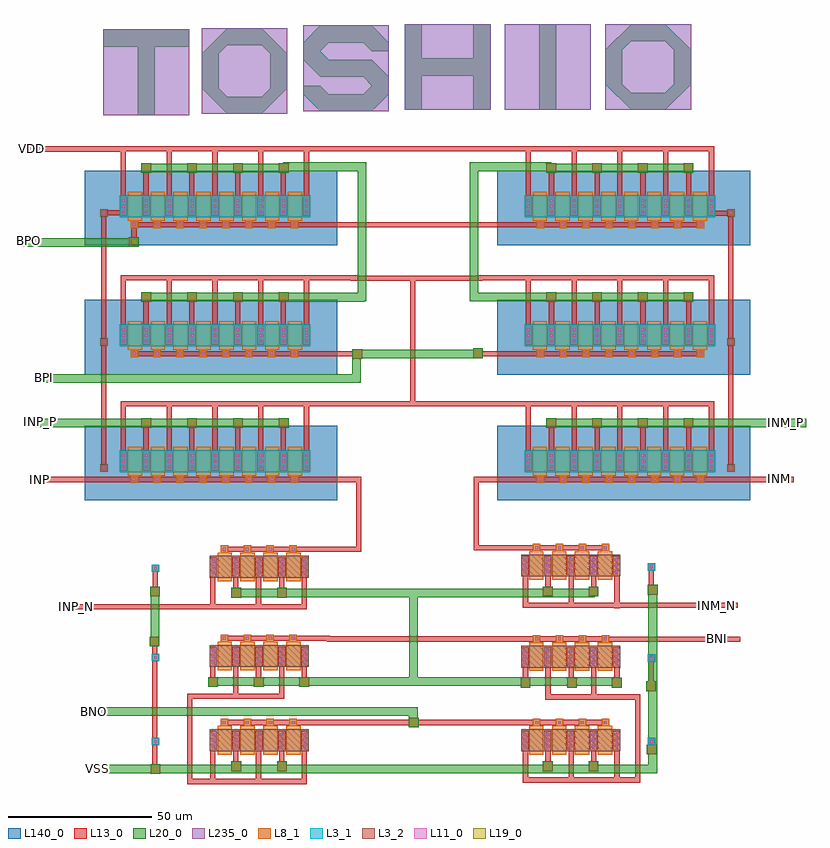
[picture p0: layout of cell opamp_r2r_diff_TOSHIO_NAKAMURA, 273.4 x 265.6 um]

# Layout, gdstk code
from math import pi, radians
import gdstk
lib = gdstk.Library(unit=1e-6, precision=1e-07)
def R(c, l, rs):  # rectangles x0, y0, x1, y1
    for r in rs: c.add(gdstk.rectangle(r[:2], r[2:], *l))
def A(c, l, x, y, w, h, nx, ny, dx, dy):  # array of equal rectangles
    R(c, l, [(x+i*dx, y+j*dy, x+i*dx+w, y+j*dy+h) for i in range(nx) for j in range(ny)])
def P(c, l, *ps):  # polygons
    for p in ps: c.add(gdstk.Polygon(p, *l))
L3_1 = (3, 1)
L3_2 = (3, 2)
L8_1 = (8, 1)
L11_0 = (11, 0)
L13_0 = (13, 0)
L19_0 = (19, 0)
L20_0 = (20, 0)
L140_0 = (140, 0)
L235_0 = (235, 0)

pmos = lib.new_cell('pmos')

fet_p = lib.new_cell('fet_p')
R(fet_p, L3_1, [(-33.3,-3.8,33.3,3.8)])
A(fet_p, L11_0, -32.5, -2.5, 1, 1, 9, 3, 8, 2)
A(fet_p, L13_0, -33.3, -3.3, 2.6, 6.6, 9, 1, 8, 0)
fet_p.add(gdstk.FlexPath([(4,-5),(4,5)], 5, ends="flush", simple_path=True, layer=8, datatype=1))  # L8_1
fet_p.add(gdstk.FlexPath([(-4,-5),(-4,5)], 5, ends="flush", simple_path=True, layer=8, datatype=1))  # L8_1
fet_p.add(gdstk.FlexPath([(12,-5),(12,5)], 5, ends="flush", simple_path=True, layer=8, datatype=1))  # L8_1
fet_p.add(gdstk.FlexPath([(-12,-5),(-12,5)], 5, ends="flush", simple_path=True, layer=8, datatype=1))  # L8_1
fet_p.add(gdstk.FlexPath([(20,-5),(20,5)], 5, ends="flush", simple_path=True, layer=8, datatype=1))  # L8_1
fet_p.add(gdstk.FlexPath([(-20,-5),(-20,5)], 5, ends="flush", simple_path=True, layer=8, datatype=1))  # L8_1
fet_p.add(gdstk.FlexPath([(28,-5),(28,5)], 5, ends="flush", simple_path=True, layer=8, datatype=1))  # L8_1
fet_p.add(gdstk.FlexPath([(-28,-5),(-28,5)], 5, ends="flush", simple_path=True, layer=8, datatype=1))  # L8_1

cont_g = lib.new_cell('cont_g')
R(cont_g, L8_1, [(-1.3,-1.3,1.3,1.3)])
R(cont_g, L11_0, [(-0.5,-0.5,0.5,0.5)])
R(cont_g, L13_0, [(-1.3,-1.3,1.3,1.3)])

via_1 = lib.new_cell('via_1')
R(via_1, L13_0, [(-1.7,-1.7,1.7,1.7)])
R(via_1, L19_0, [(-0.7,-0.7,0.7,0.7)])
R(via_1, L20_0, [(-1.7,-1.7,1.7,1.7)])

cont_n = lib.new_cell('cont_n')
R(cont_n, L3_2, [(-1.3,-1.3,1.3,1.3)])
R(cont_n, L11_0, [(-0.5,-0.5,0.5,0.5)])
R(cont_n, L13_0, [(-1.3,-1.3,1.3,1.3)])

pmos2 = lib.new_cell('pmos2')
R(pmos2, L140_0, [(0,0,88.4,26.1)])
pmos2.add(gdstk.FlexPath([(16.8,7.3),(96.7,7.3)], 1.8, ends="flush", simple_path=True, layer=13, datatype=0))  # L13_0
pmos2.add(gdstk.FlexPath([(77.6,16.7),(77.6,34.7)], 1.8, ends="flush", simple_path=True, layer=13, datatype=0))  # L13_0
pmos2.add(gdstk.FlexPath([(69.5,16.7),(69.5,26.7)], 1.8, ends="flush", simple_path=True, layer=13, datatype=0))  # L13_0
pmos2.add(gdstk.FlexPath([(61.6,16.7),(61.6,34.7)], 1.8, ends="flush", simple_path=True, layer=13, datatype=0))  # L13_0
pmos2.add(gdstk.FlexPath([(53.5,16.7),(53.5,26.7)], 1.8, ends="flush", simple_path=True, layer=13, datatype=0))  # L13_0
pmos2.add(gdstk.FlexPath([(45.6,16.7),(45.6,34.7)], 1.8, ends="flush", simple_path=True, layer=13, datatype=0))  # L13_0
pmos2.add(gdstk.FlexPath([(37.5,16.7),(37.5,26.7)], 1.8, ends="flush", simple_path=True, layer=13, datatype=0))  # L13_0
pmos2.add(gdstk.FlexPath([(29.6,16.7),(29.6,34.7)], 1.8, ends="flush", simple_path=True, layer=13, datatype=0))  # L13_0
pmos2.add(gdstk.FlexPath([(21.5,16.7),(21.5,26.7)], 1.8, ends="flush", simple_path=True, layer=13, datatype=0))  # L13_0
pmos2.add(gdstk.FlexPath([(13.6,16.7),(13.6,34.7)], 1.8, ends="flush", simple_path=True, layer=13, datatype=0))  # L13_0
pmos2.add(gdstk.FlexPath([(13.5,33.8),(95.7,33.8)], 1.8, ends="flush", simple_path=True, layer=13, datatype=0))  # L13_0
pmos2.add(gdstk.FlexPath([(22,27.1),(70.7,27.1)], 3, ends="flush", simple_path=True, layer=20, datatype=0))  # L20_0
pmos2.add(gdstk.Reference(fet_p, (45.6,13.7), rotation=pi))
pmos2.add(gdstk.Reference(cont_g, (17.4,7.4), rotation=pi))
pmos2.add(gdstk.Reference(cont_g, (25.4,7.4), rotation=pi))
pmos2.add(gdstk.Reference(cont_g, (33.4,7.4), rotation=pi))
pmos2.add(gdstk.Reference(cont_g, (41.4,7.4), rotation=pi))
pmos2.add(gdstk.Reference(cont_g, (49.4,7.4), rotation=pi))
pmos2.add(gdstk.Reference(cont_g, (57.4,7.4), rotation=pi))
pmos2.add(gdstk.Reference(cont_g, (65.4,7.4), rotation=pi))
pmos2.add(gdstk.Reference(cont_g, (73.4,7.4), rotation=pi))
pmos2.add(gdstk.Reference(via_1, (21.6,27.1), rotation=pi))
pmos2.add(gdstk.Reference(via_1, (37.6,27.1), rotation=pi))
pmos2.add(gdstk.Reference(via_1, (53.6,27.1), rotation=pi))
pmos2.add(gdstk.Reference(via_1, (69.6,27.1), rotation=pi))
pmos2.add(gdstk.Reference(cont_n, (6.8,11.4), rotation=pi))

fet_n = lib.new_cell('fet_n')
R(fet_n, L3_2, [(-17.3,-3.8,17.3,3.8)])
A(fet_n, L11_0, -16.5, -2.5, 1, 1, 5, 3, 8, 2)
A(fet_n, L13_0, -17.3, -3.3, 2.6, 6.6, 5, 1, 8, 0)
fet_n.add(gdstk.FlexPath([(4,-5),(4,5)], 5, ends="flush", simple_path=True, layer=8, datatype=1))  # L8_1
fet_n.add(gdstk.FlexPath([(-4,-5),(-4,5)], 5, ends="flush", simple_path=True, layer=8, datatype=1))  # L8_1
fet_n.add(gdstk.FlexPath([(12,-5),(12,5)], 5, ends="flush", simple_path=True, layer=8, datatype=1))  # L8_1
fet_n.add(gdstk.FlexPath([(-12,-5),(-12,5)], 5, ends="flush", simple_path=True, layer=8, datatype=1))  # L8_1

cont_p = lib.new_cell('cont_p')
R(cont_p, L3_1, [(-1.3,-1.3,1.3,1.3)])
R(cont_p, L11_0, [(-0.5,-0.5,0.5,0.5)])
R(cont_p, L13_0, [(-1.3,-1.3,1.3,1.3)])

nmos2_1 = lib.new_cell('nmos2$1')
nmos2_1.add(gdstk.FlexPath([(17.3,21.1),(54.2,21.1)], 1.8, ends="flush", simple_path=True, layer=13, datatype=0))  # L13_0
nmos2_1.add(gdstk.FlexPath([(13.3,12.9),(13.3,0)], 1.8, ends="flush", simple_path=True, layer=13, datatype=0))  # L13_0
nmos2_1.add(gdstk.FlexPath([(29.3,12.9),(29.3,0.1)], 1.8, ends="flush", simple_path=True, layer=13, datatype=0))  # L13_0
nmos2_1.add(gdstk.FlexPath([(45.3,12.9),(45.3,0.1)], 1.8, ends="flush", simple_path=True, layer=13, datatype=0))  # L13_0
nmos2_1.add(gdstk.FlexPath([(21.4,12.4),(21.4,5.5)], 1.8, ends="flush", simple_path=True, layer=13, datatype=0))  # L13_0
nmos2_1.add(gdstk.FlexPath([(37.4,12.4),(37.4,5.5)], 1.8, ends="flush", simple_path=True, layer=13, datatype=0))  # L13_0
nmos2_1.add(gdstk.Reference(fet_n, (29.5,14.9)))
nmos2_1.add(gdstk.Reference(cont_g, (17.4,21.1)))
nmos2_1.add(gdstk.Reference(cont_g, (25.4,21.1)))
nmos2_1.add(gdstk.Reference(cont_g, (33.4,21.1)))
nmos2_1.add(gdstk.Reference(cont_g, (41.4,21.1)))
nmos2_1.add(gdstk.Reference(via_1, (21.5,5.8)))
nmos2_1.add(gdstk.Reference(via_1, (37.5,5.8)))
nmos2_1.add(gdstk.Reference(cont_p, (-6.7,14.4)))

nmos2_1_1 = lib.new_cell('nmos2$1$1')
nmos2_1_1.add(gdstk.FlexPath([(13.3,12.9),(13.3,4.8)], 1.8, ends="flush", simple_path=True, layer=13, datatype=0))  # L13_0
nmos2_1_1.add(gdstk.FlexPath([(29.3,12.9),(29.3,5)], 1.8, ends="flush", simple_path=True, layer=13, datatype=0))  # L13_0
nmos2_1_1.add(gdstk.FlexPath([(45.3,12.9),(45.3,5.4)], 1.8, ends="flush", simple_path=True, layer=13, datatype=0))  # L13_0
nmos2_1_1.add(gdstk.FlexPath([(21.4,12.4),(21.4,0.2)], 1.8, ends="flush", simple_path=True, layer=13, datatype=0))  # L13_0
nmos2_1_1.add(gdstk.FlexPath([(37.4,12.4),(37.4,0.3)], 1.8, ends="flush", simple_path=True, layer=13, datatype=0))  # L13_0
nmos2_1_1.add(gdstk.FlexPath([(17.3,21.1),(54.2,21.1)], 1.8, ends="flush", simple_path=True, layer=13, datatype=0))  # L13_0
nmos2_1_1.add(gdstk.Reference(fet_n, (29.5,14.9)))
nmos2_1_1.add(gdstk.Reference(cont_g, (17.4,21.1)))
nmos2_1_1.add(gdstk.Reference(cont_g, (25.4,21.1)))
nmos2_1_1.add(gdstk.Reference(cont_g, (33.4,21.1)))
nmos2_1_1.add(gdstk.Reference(cont_g, (41.4,21.1)))
nmos2_1_1.add(gdstk.Reference(via_1, (13.4,5.8)))
nmos2_1_1.add(gdstk.Reference(via_1, (45.3,5.8)))
nmos2_1_1.add(gdstk.Reference(cont_p, (-6.7,14.4)))

nmos2_1_2 = lib.new_cell('nmos2$1$2')
nmos2_1_2.add(gdstk.FlexPath([(36.9,21.1),(0,21.1)], 1.8, ends="flush", simple_path=True, layer=13, datatype=0))  # L13_0
nmos2_1_2.add(gdstk.FlexPath([(40.9,12.9),(40.9,0)], 1.8, ends="flush", simple_path=True, layer=13, datatype=0))  # L13_0
nmos2_1_2.add(gdstk.FlexPath([(24.9,12.9),(24.9,0.1)], 1.8, ends="flush", simple_path=True, layer=13, datatype=0))  # L13_0
nmos2_1_2.add(gdstk.FlexPath([(8.9,12.9),(8.9,0.1)], 1.8, ends="flush", simple_path=True, layer=13, datatype=0))  # L13_0
nmos2_1_2.add(gdstk.FlexPath([(32.8,12.4),(32.8,5.5)], 1.8, ends="flush", simple_path=True, layer=13, datatype=0))  # L13_0
nmos2_1_2.add(gdstk.FlexPath([(16.8,12.4),(16.8,5.5)], 1.8, ends="flush", simple_path=True, layer=13, datatype=0))  # L13_0
nmos2_1_2.add(gdstk.Reference(fet_n, (24.7,14.9), rotation=pi, x_reflection=True))
nmos2_1_2.add(gdstk.Reference(cont_g, (36.8,21.1), rotation=pi, x_reflection=True))
nmos2_1_2.add(gdstk.Reference(cont_g, (28.8,21.1), rotation=pi, x_reflection=True))
nmos2_1_2.add(gdstk.Reference(cont_g, (20.8,21.1), rotation=pi, x_reflection=True))
nmos2_1_2.add(gdstk.Reference(cont_g, (12.8,21.1), rotation=pi, x_reflection=True))
nmos2_1_2.add(gdstk.Reference(via_1, (32.7,5.8), rotation=pi, x_reflection=True))
nmos2_1_2.add(gdstk.Reference(via_1, (16.7,5.8), rotation=pi, x_reflection=True))
nmos2_1_2.add(gdstk.Reference(cont_p, (52.9,14.4), rotation=pi, x_reflection=True))

nmos2_1_1_1 = lib.new_cell('nmos2$1$1$1')
nmos2_1_1_1.add(gdstk.FlexPath([(40.9,12.9),(40.9,5.3)], 1.8, ends="flush", simple_path=True, layer=13, datatype=0))  # L13_0
nmos2_1_1_1.add(gdstk.FlexPath([(24.9,12.9),(24.9,5.3)], 1.8, ends="flush", simple_path=True, layer=13, datatype=0))  # L13_0
nmos2_1_1_1.add(gdstk.FlexPath([(8.9,12.9),(8.9,5.3)], 1.8, ends="flush", simple_path=True, layer=13, datatype=0))  # L13_0
nmos2_1_1_1.add(gdstk.FlexPath([(16.8,12.4),(16.8,-0.1)], 1.8, ends="flush", simple_path=True, layer=13, datatype=0))  # L13_0
nmos2_1_1_1.add(gdstk.FlexPath([(32.8,12.4),(32.8,0.4)], 1.8, ends="flush", simple_path=True, layer=13, datatype=0))  # L13_0
nmos2_1_1_1.add(gdstk.FlexPath([(36.9,21.1),(0,21.1)], 1.8, ends="flush", simple_path=True, layer=13, datatype=0))  # L13_0
nmos2_1_1_1.add(gdstk.Reference(fet_n, (24.7,14.9), rotation=pi, x_reflection=True))
nmos2_1_1_1.add(gdstk.Reference(cont_g, (36.8,21.1), rotation=pi, x_reflection=True))
nmos2_1_1_1.add(gdstk.Reference(cont_g, (28.8,21.1), rotation=pi, x_reflection=True))
nmos2_1_1_1.add(gdstk.Reference(cont_g, (20.8,21.1), rotation=pi, x_reflection=True))
nmos2_1_1_1.add(gdstk.Reference(cont_g, (12.8,21.1), rotation=pi, x_reflection=True))
nmos2_1_1_1.add(gdstk.Reference(via_1, (25.2,5.8), rotation=pi, x_reflection=True))
nmos2_1_1_1.add(gdstk.Reference(via_1, (8.9,5.8), rotation=pi, x_reflection=True))
nmos2_1_1_1.add(gdstk.Reference(cont_p, (52.9,14.4), rotation=pi, x_reflection=True))

nmos2_2 = lib.new_cell('nmos2$2')
nmos2_2.add(gdstk.FlexPath([(36.9,21.1),(-9.2,21.1)], 1.8, ends="flush", simple_path=True, layer=13, datatype=0))  # L13_0
nmos2_2.add(gdstk.FlexPath([(40.9,12.9),(40.9,0)], 1.8, ends="flush", simple_path=True, layer=13, datatype=0))  # L13_0
nmos2_2.add(gdstk.FlexPath([(24.9,12.9),(24.9,0.1)], 1.8, ends="flush", simple_path=True, layer=13, datatype=0))  # L13_0
nmos2_2.add(gdstk.FlexPath([(8.9,12.9),(8.9,0.1)], 1.8, ends="flush", simple_path=True, layer=13, datatype=0))  # L13_0
nmos2_2.add(gdstk.FlexPath([(32.8,12.4),(32.8,5.5)], 1.8, ends="flush", simple_path=True, layer=13, datatype=0))  # L13_0
nmos2_2.add(gdstk.FlexPath([(16.8,12.4),(16.8,5.5)], 1.8, ends="flush", simple_path=True, layer=13, datatype=0))  # L13_0
nmos2_2.add(gdstk.Reference(fet_n, (24.7,14.9), rotation=pi, x_reflection=True))
nmos2_2.add(gdstk.Reference(cont_g, (36.8,21.1), rotation=pi, x_reflection=True))
nmos2_2.add(gdstk.Reference(cont_g, (28.8,21.1), rotation=pi, x_reflection=True))
nmos2_2.add(gdstk.Reference(cont_g, (20.8,21.1), rotation=pi, x_reflection=True))
nmos2_2.add(gdstk.Reference(cont_g, (12.8,21.1), rotation=pi, x_reflection=True))
nmos2_2.add(gdstk.Reference(via_1, (32.7,5.8), rotation=pi, x_reflection=True))
nmos2_2.add(gdstk.Reference(via_1, (16.7,5.8), rotation=pi, x_reflection=True))
nmos2_2.add(gdstk.Reference(cont_p, (52.9,14.4), rotation=pi, x_reflection=True))

nmos2 = lib.new_cell('nmos2')
nmos2.add(gdstk.FlexPath([(13.3,12.9),(13.3,0)], 1.8, ends="flush", simple_path=True, layer=13, datatype=0))  # L13_0
nmos2.add(gdstk.FlexPath([(29.3,12.9),(29.3,0.1)], 1.8, ends="flush", simple_path=True, layer=13, datatype=0))  # L13_0
nmos2.add(gdstk.FlexPath([(45.3,12.9),(45.3,0.1)], 1.8, ends="flush", simple_path=True, layer=13, datatype=0))  # L13_0
nmos2.add(gdstk.FlexPath([(21.4,12.4),(21.4,5.5)], 1.8, ends="flush", simple_path=True, layer=13, datatype=0))  # L13_0
nmos2.add(gdstk.FlexPath([(37.4,12.4),(37.4,5.5)], 1.8, ends="flush", simple_path=True, layer=13, datatype=0))  # L13_0
nmos2.add(gdstk.FlexPath([(17.3,21.1),(65.2,21.1)], 1.8, ends="flush", simple_path=True, layer=13, datatype=0))  # L13_0
nmos2.add(gdstk.Reference(fet_n, (29.5,14.9)))
nmos2.add(gdstk.Reference(cont_g, (17.4,21.1)))
nmos2.add(gdstk.Reference(cont_g, (25.4,21.1)))
nmos2.add(gdstk.Reference(cont_g, (33.4,21.1)))
nmos2.add(gdstk.Reference(cont_g, (41.4,21.1)))
nmos2.add(gdstk.Reference(via_1, (21.5,5.8)))
nmos2.add(gdstk.Reference(via_1, (37.5,5.8)))
nmos2.add(gdstk.Reference(cont_p, (-6.7,14.4)))

c_t = lib.new_cell('T')
P(c_t, L20_0, [(12,0),(12,24),(0,24),(0,30),(30,30),(30,24),(18,24),(18,0)])
R(c_t, L235_0, [(0,0,30,30)])

c_o = lib.new_cell('O')
P(c_o, L20_0, [(9,0),(0,9),(0,21),(9,30),(9,24),(6,21),(6,9),(9,6),(21,6),(24,9),(24,21),(21,24),(9,24),(9,30),(21,30),(30,21),(30,9),(21,0)])
R(c_o, L235_0, [(0,0,30,30)])

c_s = lib.new_cell('S')
P(c_s, L20_0, [(6,0),(0,6),(0,9),(6,9),(9,6),(21,6),(24,9),(21,12),(6,12),(0,18),(0,24),(6,30),(24,30),(30,24),(30,21),(24,21),(21,24),(9,24),(6,21),(9,18),(24,18),(30,12),(30,6),(24,0)])
R(c_s, L235_0, [(0,0,30,30)])

c_h = lib.new_cell('H')
P(c_h, L20_0, [(0,0),(0,30),(6,30),(6,18),(24,18),(24,30),(30,30),(30,0),(24,0),(24,12),(6,12),(6,0)])
R(c_h, L235_0, [(0,0,30,30)])

c_i = lib.new_cell('I')
R(c_i, L20_0, [(12,0,18,30)])
R(c_i, L235_0, [(0,0,30,30)])

opamp_r2r_diff_toshio_na = lib.new_cell('opamp_r2r_diff_TOSHIO_NAKAMURA')
opamp_r2r_diff_toshio_na.add(gdstk.FlexPath([(116,-72.7),(148.2,-72.7),(148.2,-101.7),(108.3,-101.7)], 1.8, ends="flush", simple_path=True, layer=13, datatype=0))  # L13_0
opamp_r2r_diff_toshio_na.add(gdstk.FlexPath([(24.6,-72.4),(-8.4,-72.4),(-8.4,-102.2),(32.4,-102.2)], 1.8, ends="flush", simple_path=True, layer=13, datatype=0))  # L13_0
opamp_r2r_diff_toshio_na.add(gdstk.FlexPath([(-31.6,118.8),(-65.4,118.8)], 1.8, ends="flush", simple_path=True, layer=13, datatype=0))  # L13_0
opamp_r2r_diff_toshio_na.add(gdstk.FlexPath([(-28.4,3.3),(-63,3.3)], 1.8, ends="flush", simple_path=True, layer=13, datatype=0))  # L13_0
opamp_r2r_diff_toshio_na.add(gdstk.FlexPath([(170.3,3.3),(202.7,3.3)], 1.8, ends="flush", simple_path=True, layer=13, datatype=0))  # L13_0
opamp_r2r_diff_toshio_na.add(gdstk.FlexPath([(137.8,-52.5),(183.9,-52.5)], 1.8, ends="flush", simple_path=True, layer=13, datatype=0))  # L13_0
opamp_r2r_diff_toshio_na.add(gdstk.FlexPath([(-27.9,91.7),(-27.9,86.4)], 1.8, ends="flush", simple_path=True, layer=13, datatype=0))  # L13_0
opamp_r2r_diff_toshio_na.add(gdstk.FlexPath([(69.5,73.7),(69.5,29.8)], 1.8, ends="flush", simple_path=True, layer=13, datatype=0))  # L13_0
opamp_r2r_diff_toshio_na.add(gdstk.FlexPath([(50.2,29.8),(92.9,29.8)], 1.8, ends="flush", simple_path=True, layer=13, datatype=0))  # L13_0
opamp_r2r_diff_toshio_na.add(gdstk.FlexPath([(-20.6,-54.6),(-20.6,-98.7)], 1.8, ends="flush", simple_path=True, layer=13, datatype=0))  # L13_0
opamp_r2r_diff_toshio_na.add(gdstk.FlexPath([(108.7,-40.6),(183.1,-40.6)], 1.8, ends="flush", simple_path=True, layer=13, datatype=0))  # L13_0
opamp_r2r_diff_toshio_na.add(gdstk.FlexPath([(31.3,-41.2),(-49.8,-41.2)], 1.8, ends="flush", simple_path=True, layer=13, datatype=0))  # L13_0
opamp_r2r_diff_toshio_na.add(gdstk.FlexPath([(-20.5,-27.4),(-20.5,-36.2)], 1.8, ends="flush", simple_path=True, layer=13, datatype=0))  # L13_0
opamp_r2r_diff_toshio_na.add(gdstk.FlexPath([(152.9,-26.5),(152.9,-35.6)], 1.8, ends="flush", simple_path=True, layer=13, datatype=0))  # L13_0
opamp_r2r_diff_toshio_na.add(gdstk.FlexPath([(91.7,3.9),(91.7,-21.4)], 1.8, ends="flush", simple_path=True, layer=13, datatype=0))  # L13_0
opamp_r2r_diff_toshio_na.add(gdstk.FlexPath([(49.8,118.9),(93.3,118.9)], 1.8, ends="flush", simple_path=True, layer=13, datatype=0))  # L13_0
opamp_r2r_diff_toshio_na.add(gdstk.FlexPath([(50.8,92.3),(94,92.3)], 1.8, ends="flush", simple_path=True, layer=13, datatype=0))  # L13_0
opamp_r2r_diff_toshio_na.add(gdstk.FlexPath([(-38.4,96.5),(-31.8,96.5)], 1.8, ends="flush", simple_path=True, layer=13, datatype=0))  # L13_0
opamp_r2r_diff_toshio_na.add(gdstk.FlexPath([(-38.5,96.4),(-38.5,6.7)], 1.8, ends="flush", simple_path=True, layer=13, datatype=0))  # L13_0
opamp_r2r_diff_toshio_na.add(gdstk.FlexPath([(180.6,96.4),(173.1,96.4)], 1.8, ends="flush", simple_path=True, layer=13, datatype=0))  # L13_0
opamp_r2r_diff_toshio_na.add(gdstk.FlexPath([(180.6,96.9),(180.6,7)], 1.8, ends="flush", simple_path=True, layer=13, datatype=0))  # L13_0
opamp_r2r_diff_toshio_na.add(gdstk.FlexPath([(47.8,73.7),(93.8,73.7)], 1.8, ends="flush", simple_path=True, layer=13, datatype=0))  # L13_0
opamp_r2r_diff_toshio_na.add(gdstk.FlexPath([(50.6,3.3),(50.6,-21.8)], 1.8, ends="flush", simple_path=True, layer=13, datatype=0))  # L13_0
opamp_r2r_diff_toshio_na.add(gdstk.FlexPath([(152.8,-58.6),(152.8,-68.3)], 1.8, ends="flush", simple_path=True, layer=13, datatype=0))  # L13_0
opamp_r2r_diff_toshio_na.add(gdstk.FlexPath([(152.7,-88.4),(152.7,-91.7)], 1.8, ends="flush", simple_path=True, layer=13, datatype=0))  # L13_0
opamp_r2r_diff_toshio_na.add(gdstk.FlexPath([(40,-81.6),(101.6,-81.6)], 1.8, ends="flush", simple_path=True, layer=13, datatype=0))  # L13_0
opamp_r2r_diff_toshio_na.add(gdstk.FlexPath([(39.4,-52.4),(102.7,-52.4)], 1.8, ends="flush", simple_path=True, layer=13, datatype=0))  # L13_0
opamp_r2r_diff_toshio_na.add(gdstk.FlexPath([(69.7,-81.5),(69.7,-77.7),(-43.1,-77.7)], 3, ends="flush", simple_path=True, layer=20, datatype=0))  # L20_0
opamp_r2r_diff_toshio_na.add(gdstk.FlexPath([(50.1,47.2),(92.3,47.2)], 3, ends="flush", simple_path=True, layer=20, datatype=0))  # L20_0
opamp_r2r_diff_toshio_na.add(gdstk.FlexPath([(-1.1,-67.3),(141.3,-67.3)], 3, ends="flush", simple_path=True, layer=20, datatype=0))  # L20_0
opamp_r2r_diff_toshio_na.add(gdstk.FlexPath([(24.3,112.6),(52.6,112.6)], 3, ends="flush", simple_path=True, layer=20, datatype=0))  # L20_0
opamp_r2r_diff_toshio_na.add(gdstk.FlexPath([(24.3,67),(52.6,67)], 3, ends="flush", simple_path=True, layer=20, datatype=0))  # L20_0
opamp_r2r_diff_toshio_na.add(gdstk.FlexPath([(-22.8,23.1),(-62.7,23.1)], 3, ends="flush", simple_path=True, layer=20, datatype=0))  # L20_0
opamp_r2r_diff_toshio_na.add(gdstk.FlexPath([(89.6,112.6),(117.9,112.6)], 3, ends="flush", simple_path=True, layer=20, datatype=0))  # L20_0
opamp_r2r_diff_toshio_na.add(gdstk.FlexPath([(89.6,67.1),(117.9,67.1)], 3, ends="flush", simple_path=True, layer=20, datatype=0))  # L20_0
opamp_r2r_diff_toshio_na.add(gdstk.FlexPath([(207,23.1),(167.1,23.1)], 3, ends="flush", simple_path=True, layer=20, datatype=0))  # L20_0
opamp_r2r_diff_toshio_na.add(gdstk.FlexPath([(49.8,47.3),(49.8,38.6),(-62.3,38.6)], 3, ends="flush", simple_path=True, layer=20, datatype=0))  # L20_0
opamp_r2r_diff_toshio_na.add(gdstk.FlexPath([(-28.4,86.2),(-66.4,86.2)], 3, ends="flush", simple_path=True, layer=20, datatype=0))  # L20_0
opamp_r2r_diff_toshio_na.add(gdstk.FlexPath([(153.4,-34.2),(153.4,-97.9),(-41.1,-97.9)], 3, ends="flush", simple_path=True, layer=20, datatype=0))  # L20_0
opamp_r2r_diff_toshio_na.add(gdstk.FlexPath([(-20.6,-35.6),(-20.6,-53.6)], 3, ends="flush", simple_path=True, layer=20, datatype=0))  # L20_0
opamp_r2r_diff_toshio_na.add(gdstk.FlexPath([(7.6,-36.3),(133.2,-36.3)], 3, ends="flush", simple_path=True, layer=20, datatype=0))  # L20_0
opamp_r2r_diff_toshio_na.add(gdstk.FlexPath([(69.8,-35.4),(69.8,-67.5)], 3, ends="flush", simple_path=True, layer=20, datatype=0))  # L20_0
opamp_r2r_diff_toshio_na.add(gdstk.FlexPath([(51.8,114.1),(51.8,65.6)], 3, ends="flush", simple_path=True, layer=20, datatype=0))  # L20_0
opamp_r2r_diff_toshio_na.add(gdstk.FlexPath([(90.9,114.1),(90.9,65.6)], 3, ends="flush", simple_path=True, layer=20, datatype=0))  # L20_0
opamp_r2r_diff_toshio_na.add(gdstk.Reference(pmos, (-45.8,21.1)))
opamp_r2r_diff_toshio_na.add(gdstk.Reference(pmos2, (-45.2,-4)))
opamp_r2r_diff_toshio_na.add(gdstk.Reference(pmos2, (-45.2,40)))
opamp_r2r_diff_toshio_na.add(gdstk.Reference(pmos2, (-45.2,85.1)))
opamp_r2r_diff_toshio_na.add(gdstk.Reference(pmos2, (187.5,85.1), rotation=pi, x_reflection=True))
opamp_r2r_diff_toshio_na.add(gdstk.Reference(pmos2, (187.5,-4), rotation=pi, x_reflection=True))
opamp_r2r_diff_toshio_na.add(gdstk.Reference(pmos2, (187.5,40), rotation=pi, x_reflection=True))
opamp_r2r_diff_toshio_na.add(gdstk.Reference(nmos2_1, (-13.7,-102.7)))
opamp_r2r_diff_toshio_na.add(gdstk.Reference(nmos2_1_1, (-13.7,-73.3)))
opamp_r2r_diff_toshio_na.add(gdstk.Reference(nmos2_1_2, (100,-102.7)))
opamp_r2r_diff_toshio_na.add(gdstk.Reference(nmos2_1_1_1, (100,-73.5)))
opamp_r2r_diff_toshio_na.add(gdstk.Reference(via_1, (152.8,-68.9)))
opamp_r2r_diff_toshio_na.add(gdstk.Reference(via_1, (153,-91)))
opamp_r2r_diff_toshio_na.add(gdstk.Reference(via_1, (153.4,-35.2)))
opamp_r2r_diff_toshio_na.add(gdstk.Reference(via_1, (-20.4,-97.9)))
opamp_r2r_diff_toshio_na.add(gdstk.Reference(via_1, (-20.7,-53.3)))
opamp_r2r_diff_toshio_na.add(gdstk.Reference(via_1, (-20.6,-35.8)))
opamp_r2r_diff_toshio_na.add(gdstk.Reference(nmos2_2, (100,-41.6)))
opamp_r2r_diff_toshio_na.add(gdstk.Reference(nmos2, (-13.7,-42.1)))
opamp_r2r_diff_toshio_na.add(gdstk.Reference(via_1, (50.1,47.2), rotation=pi))
opamp_r2r_diff_toshio_na.add(gdstk.Reference(via_1, (92.3,47.4), rotation=pi))
opamp_r2r_diff_toshio_na.add(gdstk.Reference(via_1, (69.9,-81.6), rotation=pi))
opamp_r2r_diff_toshio_na.add(gdstk.Reference(via_1, (140.8,-67.7), rotation=pi, x_reflection=True))
opamp_r2r_diff_toshio_na.add(gdstk.Reference(via_1, (15.7,-67.5)))
opamp_r2r_diff_toshio_na.add(gdstk.Reference(via_1, (-28,86.3), rotation=pi))
opamp_r2r_diff_toshio_na.add(gdstk.Reference(c_t, (-38.6,130.6)))
opamp_r2r_diff_toshio_na.add(gdstk.Reference(c_o, (-4.3,131.1)))
opamp_r2r_diff_toshio_na.add(gdstk.Reference(c_s, (31.2,132)))
opamp_r2r_diff_toshio_na.add(gdstk.Reference(c_h, (66.7,132.5)))
opamp_r2r_diff_toshio_na.add(gdstk.Reference(c_i, (101.7,132.5)))
opamp_r2r_diff_toshio_na.add(gdstk.Reference(c_o, (136.8,132.5)))
opamp_r2r_diff_toshio_na.add(gdstk.Label('VDD', (-63.8,118.9), layer=48, texttype=0))
opamp_r2r_diff_toshio_na.add(gdstk.Label('INP', (-61,3.4), layer=48, texttype=0))
opamp_r2r_diff_toshio_na.add(gdstk.Label('INM', (197.7,3.6), layer=48, texttype=0))
opamp_r2r_diff_toshio_na.add(gdstk.Label('BNI', (176,-52.4), layer=48, texttype=0))
opamp_r2r_diff_toshio_na.add(gdstk.Label('INM_N', (175.8,-40.6), layer=48, texttype=0))
opamp_r2r_diff_toshio_na.add(gdstk.Label('INP_N', (-48,-41.2), layer=48, texttype=0))
opamp_r2r_diff_toshio_na.add(gdstk.Label('INP_P', (-60.7,23.5), layer=49, texttype=0))
opamp_r2r_diff_toshio_na.add(gdstk.Label('INM_P', (199.8,23.3), layer=49, texttype=0))
opamp_r2r_diff_toshio_na.add(gdstk.Label('BPI', (-59.3,38.8), layer=49, texttype=0))
opamp_r2r_diff_toshio_na.add(gdstk.Label('BPO', (-64.8,86.7), layer=49, texttype=0))
opamp_r2r_diff_toshio_na.add(gdstk.Label('VSS', (-40.5,-97.6), layer=49, texttype=0))
opamp_r2r_diff_toshio_na.add(gdstk.Label('BNO', (-42,-77.8), layer=49, texttype=0))

lib.write_gds('opamp_r2r_diff_TOSHIO_NAKAMURA.gds')
